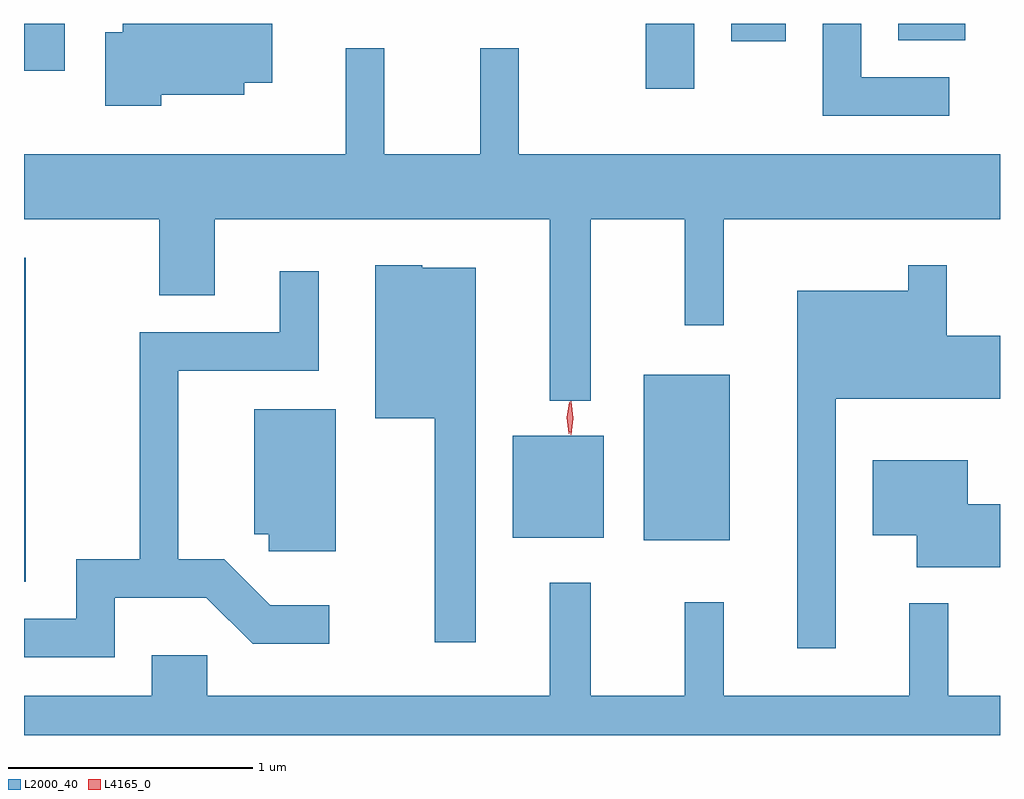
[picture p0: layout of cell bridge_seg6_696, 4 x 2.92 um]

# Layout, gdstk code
import gdstk
lib = gdstk.Library(unit=1e-6, precision=1e-09)
def R(c, l, rs):  # rectangles x0, y0, x1, y1
    for r in rs: c.add(gdstk.rectangle(r[:2], r[2:], *l))
def P(c, l, *ps):  # polygons
    for p in ps: c.add(gdstk.Polygon(p, *l))
L2000_40 = (2000, 40)
L4165_0 = (4165, 0)

bridge_seg6_696 = lib.new_cell('bridge_seg6_696')
R(bridge_seg6_696, L2000_40, [(490.247,1530.791,490.254,1532.119), (492.786,1530.961,493.139,1531.639), (492.251,1530.971,492.624,1531.389), (492.796,1532.811,492.994,1533.078), (490.247,1532.886,490.414,1533.078), (493.146,1533.006,493.369,1533.078), (493.831,1533.011,494.104,1533.078)])
P(bridge_seg6_696, L2000_40, [(490.809,1532.786),(491.149,1532.786),(491.149,1532.836),(491.264,1532.836),(491.264,1533.078),(490.651,1533.078),(490.651,1533.044),(490.581,1533.044),(490.581,1532.741),(490.809,1532.741)],
  [(494.038,1532.859),(493.679,1532.859),(493.679,1533.078),(493.521,1533.078),(493.521,1532.701),(494.038,1532.701)],
  [(492.569,1532.276),(492.956,1532.276),(492.956,1531.843),(493.114,1531.843),(493.114,1532.276),(494.247,1532.276),(494.247,1532.544),(492.274,1532.544),(492.274,1532.978),(492.116,1532.978),(492.116,1532.544),(491.724,1532.544),(491.724,1532.978),(491.566,1532.978),(491.566,1532.544),(490.247,1532.544),(490.247,1532.276),(490.801,1532.276),(490.801,1531.966),(491.029,1531.966),(491.029,1532.276),(492.401,1532.276),(492.401,1531.533),(492.569,1531.533)],
  [(492.099,1532.079),(491.88,1532.079),(491.88,1532.089),(491.686,1532.089),(491.686,1531.461),(491.931,1531.461),(491.931,1530.543),(492.099,1530.543)],
  [(493.574,1531.541),(494.247,1531.541),(494.247,1531.799),(494.029,1531.799),(494.029,1532.088),(493.871,1532.088),(493.871,1531.984),(493.416,1531.984),(493.416,1530.518),(493.574,1530.518)],
  [(490.619,1530.726),(490.994,1530.726),(491.184,1530.536),(491.498,1530.536),(491.498,1530.694),(491.257,1530.694),(491.067,1530.884),(490.879,1530.884),(490.879,1531.656),(491.454,1531.656),(491.454,1532.063),(491.296,1532.063),(491.296,1531.814),(490.721,1531.814),(490.721,1530.884),(490.461,1530.884),(490.461,1530.639),(490.247,1530.639),(490.247,1530.481),(490.619,1530.481)],
  [(491.524,1531.499),(491.191,1531.499),(491.191,1530.986),(491.251,1530.986),(491.251,1530.916),(491.524,1530.916)],
  [(494.247,1531.109),(494.114,1531.109),(494.114,1531.289),(493.726,1531.289),(493.726,1530.981),(493.906,1530.981),(493.906,1530.851),(494.247,1530.851)],
  [(494.247,1530.324),(494.034,1530.324),(494.034,1530.703),(493.876,1530.703),(493.876,1530.324),(493.114,1530.324),(493.114,1530.708),(492.956,1530.708),(492.956,1530.324),(492.569,1530.324),(492.569,1530.788),(492.401,1530.788),(492.401,1530.324),(490.999,1530.324),(490.999,1530.489),(490.771,1530.489),(490.771,1530.324),(490.247,1530.324),(490.247,1530.162),(494.247,1530.162)])
P(bridge_seg6_696, L4165_0, [(492.488,1531.394),(492.479,1531.462),(492.488,1531.53),(492.489,1531.53),(492.489,1531.53),(492.499,1531.462),(492.489,1531.394),(492.489,1531.394)],
  [(492.48,1531.398),(492.48,1531.398),(492.471,1531.463),(492.482,1531.527),(492.482,1531.527),(492.483,1531.527),(492.492,1531.462),(492.481,1531.398)])

lib.write_gds('bridge_seg6_696.gds')
